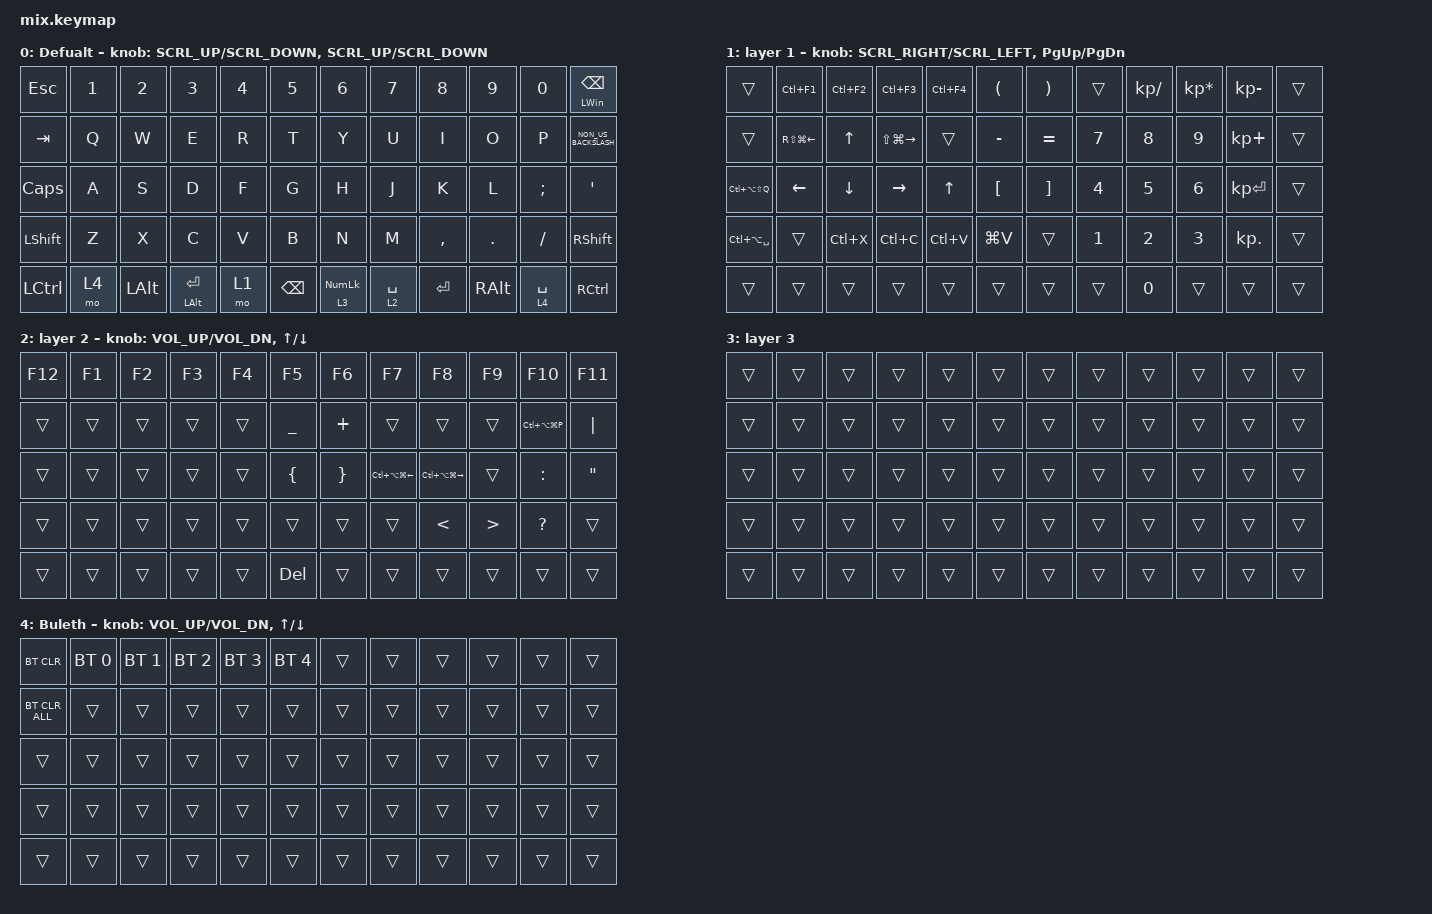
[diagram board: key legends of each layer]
/*
 * Copyright (c) 2020 The ZMK Contributors
 *
 * SPDX-License-Identifier: MIT
 */

#include <behaviors.dtsi>
#include <dt-bindings/zmk/bt.h>
#include <dt-bindings/zmk/keys.h>
#include <dt-bindings/zmk/pointing.h>

#define ZMK_POINTING_DEFAULT_SCRL_VAL 40

/ {
    combos {
        compatible = "zmk,combos";

        boot {
            bindings = <&bootloader>;
            key-positions = <0 11 54 53>;
        };
    };

    behaviors {
        encoder_sc: encoder_sc {
            compatible = "zmk,behavior-sensor-rotate-var";
            label = "ENCODER_SC";
            #sensor-binding-cells = <2>;
            bindings = <&msc>, <&msc>;

            tap-ms = <40>;
        };
    };

    keymap {
        compatible = "zmk,keymap";

        LAYER0 {
            display-name = "Defualt";
            bindings = <
&kp ESCAPE  &kp N1  &kp N2        &kp N3              &kp NUMBER_4  &kp N5         &kp NUMBER_6      &kp N7       &kp N8     &kp N9         &kp N0         &mt LEFT_WIN BACKSPACE
&kp TAB     &kp Q   &kp W         &kp E               &kp R         &kp T          &kp Y             &kp U        &kp I      &kp O          &kp P          &kp NON_US_BACKSLASH
&kp CAPS    &kp A   &kp S         &kp D               &kp F         &kp G          &kp H             &kp J        &kp K      &kp L          &kp SEMICOLON  &kp SQT
&kp LSHFT   &kp Z   &kp X         &kp C               &kp V         &kp B          &kp N             &kp M        &kp COMMA  &kp DOT        &kp FSLH       &kp RSHFT
&kp LCTRL   &mo 4   &kp LEFT_ALT  &mt LEFT_ALT ENTER  &mo 1         &kp BACKSPACE  &lt 3 KP_NUMLOCK  &lt 2 SPACE  &kp ENTER  &kp RIGHT_ALT  &lt 4 SPACE    &kp RCTRL
            >;

            sensor-bindings =
                <&encoder_sc SCRL_UP SCRL_DOWN>,
                <&encoder_sc SCRL_UP SCRL_DOWN>;
        };

        LAYER1 {
            display-name = "layer 1";
            bindings = <
&trans             &kp LC(F1)              &kp LC(F2)      &kp LC(F3)               &kp LC(F4)    &kp LEFT_PARENTHESIS  &kp RIGHT_PARENTHESIS  &trans        &kp KP_SLASH  &kp KP_MULTIPLY  &kp KP_SUBTRACT  &trans
&trans             &kp RS(LG(LEFT_ARROW))  &kp UP_ARROW    &kp LS(LG(RIGHT_ARROW))  &trans        &kp MINUS             &kp EQUAL              &kp NUMBER_7  &kp NUMBER_8  &kp NUMBER_9     &kp KP_PLUS      &trans
&kp LC(LA(LS(Q)))  &kp LEFT_ARROW          &kp DOWN_ARROW  &kp RIGHT_ARROW          &kp UP_ARROW  &kp LEFT_BRACKET      &kp RIGHT_BRACKET      &kp NUMBER_4  &kp NUMBER_5  &kp NUMBER_6     &kp KP_ENTER     &trans
&kp LC(LA(SPACE))  &trans                  &kp LC(X)       &kp LC(C)                &kp LC(V)     &kp LG(V)             &trans                 &kp NUMBER_1  &kp NUMBER_2  &kp NUMBER_3     &kp KP_DOT       &trans
&trans             &trans                  &trans          &trans                   &trans        &trans                &trans                 &trans        &kp NUMBER_0  &trans           &trans           &trans
            >;

            sensor-bindings =
                <&encoder_sc SCRL_RIGHT SCRL_LEFT>,
                <&inc_dec_kp PG_UP PG_DN>;
        };

        LAYER2 {
            display-name = "layer 2";
            bindings = <
&kp F12  &kp F1  &kp F2  &kp F3  &kp F4  &kp F5          &kp F6           &kp F7                      &kp F8                       &kp F9            &kp F10            &kp F11
&trans   &trans  &trans  &trans  &trans  &kp UNDERSCORE  &kp PLUS         &trans                      &trans                       &trans            &kp LC(LA(LG(P)))  &kp PIPE
&trans   &trans  &trans  &trans  &trans  &kp LEFT_BRACE  &kp RIGHT_BRACE  &kp LC(LA(LG(LEFT_ARROW)))  &kp LC(LA(LG(RIGHT_ARROW)))  &trans            &kp COLON          &kp DOUBLE_QUOTES
&trans   &trans  &trans  &trans  &trans  &trans          &trans           &trans                      &kp LESS_THAN                &kp GREATER_THAN  &kp QUESTION       &trans
&trans   &trans  &trans  &trans  &trans  &kp DELETE      &trans           &trans                      &trans                       &trans            &trans             &trans
            >;

            sensor-bindings =
                <&inc_dec_kp C_VOL_UP C_VOL_DN>,
                <&inc_dec_kp UP_ARROW DOWN>;
        };

        LAYER3 {
            bindings = <
&trans  &trans  &trans  &trans  &trans  &trans  &trans  &trans  &trans  &trans  &trans  &trans
&trans  &trans  &trans  &trans  &trans  &trans  &trans  &trans  &trans  &trans  &trans  &trans
&trans  &trans  &trans  &trans  &trans  &trans  &trans  &trans  &trans  &trans  &trans  &trans
&trans  &trans  &trans  &trans  &trans  &trans  &trans  &trans  &trans  &trans  &trans  &trans
&trans  &trans  &trans  &trans  &trans  &trans  &trans  &trans  &trans  &trans  &trans  &trans
            >;

            label = "layer 3";
        };

        LAYER4 {
            display-name = "Buleth";
            bindings = <
&bt BT_CLR      &bt BT_SEL 0  &bt BT_SEL 1  &bt BT_SEL 2  &bt BT_SEL 3  &bt BT_SEL 4  &trans  &trans  &trans  &trans  &trans  &trans
&bt BT_CLR_ALL  &trans        &trans        &trans        &trans        &trans        &trans  &trans  &trans  &trans  &trans  &trans
&trans          &trans        &trans        &trans        &trans        &trans        &trans  &trans  &trans  &trans  &trans  &trans
&trans          &trans        &trans        &trans        &trans        &trans        &trans  &trans  &trans  &trans  &trans  &trans
&trans          &trans        &trans        &trans        &trans        &trans        &trans  &trans  &trans  &trans  &trans  &trans
            >;

            sensor-bindings =
                <&inc_dec_kp C_VOL_UP C_VOL_DN>,
                <&inc_dec_kp UP_ARROW DOWN_ARROW>;
        };
    };
};
